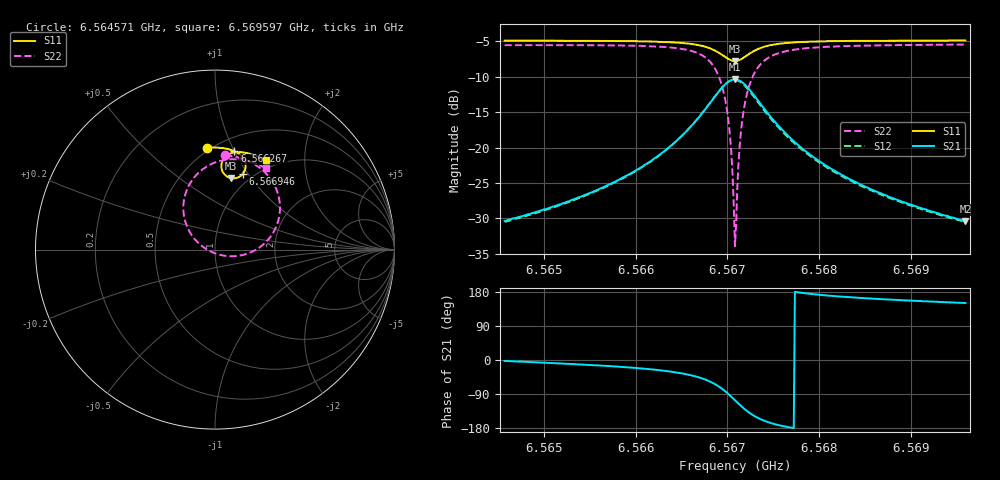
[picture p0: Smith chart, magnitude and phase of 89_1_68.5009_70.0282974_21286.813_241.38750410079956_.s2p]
#  HZ  S  RI  R  50.00
! Rohde & Schwarz Vector Network Analyzer
! Rohde-Schwarz,ZNB20-2Port,1311601062101988,3.16
! Created: UTC 3/20/2024, 4:52:34 PM
! freq[Hz]  re:S11  im:S11  re:S21  im:S21  re:S12  im:S12  re:S22  im:S22
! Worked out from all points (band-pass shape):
!   401 points, 6.564571 GHz to 6.569597 GHz, reference 50 ohm
!   highest |S21| = -10.36 dB at 6.567084 GHz (marker M1); lowest = -30.4 dB at 6.569597 GHz (marker M2)
!   |S21| within 3 dB of the highest: 6.566832 GHz to 6.567336 GHz (503.4 kHz wide, 0.00767 % of centre)
!   lowest |S11| = -7.8 dB at 6.567084 GHz (marker M3), VSWR 2.38, Z = 42 + j40.2 ohm
!   |S11| at or under -10 dB: nowhere
!   |S22| runs from -33.9 to -5.4 dB; largest |S21 - S12| = 0.015
!   S11 on the Smith chart (normalised r, x): 6.564571 GHz: 0.48, +0.80; 6.566267 GHz: 0.63, +1.00; 6.566946 GHz: 0.89, +0.95; 6.569597 GHz: 0.88, +1.30
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6.5645712e9  -0.0453 0.5674  0.0303 -0.0014  0.0298 -0.00186  0.0575 0.5261
6.565413e9  0.0249 0.5674  0.0444 -0.00941  0.0436 -0.00991  0.1409 0.5098
6.5662549e9  0.1069 0.5491  0.0789 -0.0396  0.0777 -0.0407  0.2619 0.4456
6.5662675e9  0.1083 0.5483  0.0798 -0.0408  0.0786 -0.0418  0.2643 0.4436
6.5665439e9  0.142 0.5269  0.1024 -0.0775  0.1009 -0.0792  0.3247 0.371
6.5667449e9  0.166 0.4917  0.1159 -0.1394  0.113 -0.1423  0.3615 0.2514
6.566858e9  0.1699 0.4568  0.1039 -0.2009  0.0986 -0.2049  0.3437 0.1341
6.566946e9  0.1557 0.423  0.0622 -0.2589  0.0526 -0.2623  0.2661 0.026
6.5669837e9  0.1421 0.4098  0.0306 -0.2802  0.019 -0.2821  0.207 -0.0119
6.5670214e9  0.1239 0.4005  -0.00942 -0.2942  -0.0225 -0.2936  0.1332 -0.0342
6.5670716e9  0.0949 0.3974  -0.0698 -0.2948  -0.0835 -0.2894  0.0242 -0.0283
6.5670842e9  0.0876 0.3987  -0.085 -0.2912  -0.0984 -0.2844  -0.00227 -0.02
6.5670968e9  0.0804 0.4006  -0.0998 -0.286  -0.1127 -0.2782  -0.0277 -0.00878
6.5671093e9  0.0735 0.4035  -0.1137 -0.2795  -0.126 -0.2705  -0.0516 0.00468
6.5671345e9  0.0611 0.4112  -0.1392 -0.2627  -0.1498 -0.2518  -0.094 0.038
6.5671721e9  0.0467 0.4268  -0.1689 -0.2312  -0.1762 -0.2186  -0.1408 0.098
6.5672224e9  0.0369 0.4501  -0.1913 -0.1846  -0.1945 -0.1718  -0.1719 0.1827
6.5672852e9  0.0365 0.4775  -0.1972 -0.1315  -0.1966 -0.1203  -0.1728 0.276
6.5675114e9  0.0742 0.5296  -0.1513 -0.0296  -0.1478 -0.025  -0.0694 0.4472
6.5679261e9  0.1372 0.5436  -0.0864 0.00887  -0.0843 0.0104  0.0734 0.5022
6.5687679e9  0.219 0.5255  -0.042 0.0157  -0.0411 0.0161  0.2054 0.4869
6.5695972e9  0.2819 0.4967  -0.0263 0.0149  -0.0257 0.0151  0.2828 0.4535
